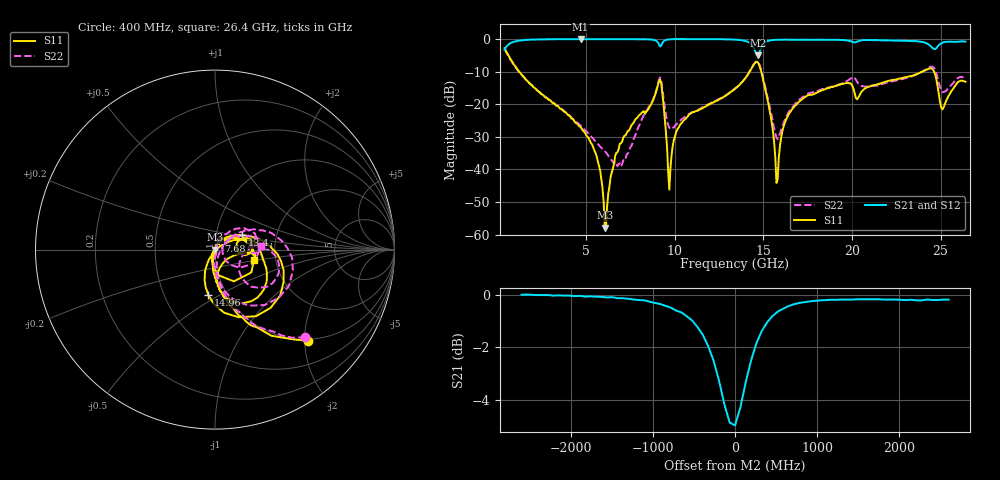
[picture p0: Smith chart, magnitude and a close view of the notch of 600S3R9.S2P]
!  American Technical Ceramics  Date:  4/26/2005
!  One Norden Lane
!  Huntington Station,  NY.  11746-2102
!  Tel:  (631) 622-4700  Fax:  (631) 622-4748
!  Part Number  600S3R9  Mounting Orientation: Horizontal
!  Description: Ultra Low ESR Microwave capacitors
!  Application: Coupling, Bypass, Tuning, DC Block
!  Filters, Matching
# GHZ S DB R 50
! Freq  |S11|  S11 Ph  |S21|  S21 Ph  |S12|  S12 Ph  |S22|  S22 Ph
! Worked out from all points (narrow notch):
!   401 points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, 400 MHz to 26.4 GHz, reference 50 ohm
!   highest |S21| = 0.00 dB at 4.69 GHz (marker M1); lowest = -5.0 dB at 14.7 GHz (marker M2)
!   notch at M2: 4.8 dB deep, 443 MHz wide at half that depth
!   lowest |S11| = -57.9 dB at 6.055 GHz (marker M3), VSWR 1.00, Z = 50 - j0.122 ohm
!   |S11| at or under -10 dB: 1.225 GHz to 14.23 GHz (13 GHz wide, 168 % of centre); 14.88 GHz to 23.98 GHz (9.095 GHz wide, 46.8 % of centre); 24.64 GHz to end of sweep
!   |S22| runs from -39.1 to -3.1 dB; largest |S21 - S12| = 0.024
!   S11 on the Smith chart (normalised r, x): 400 MHz: 0.97, -2.08; 7.68 GHz: 1.04, +0.10; 13.4 GHz: 1.34, +0.22; 14.96 GHz: 0.82, -0.45; 26.4 GHz: 1.53, -0.18
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0.4  -2.77 -44.3  -3.31 45.0  -3.53 45.5  -3.08 -44.1
1.505  -11.74 -80.4  -0.31 10.1  -0.36 11.0  -11.86 -77.8
4.69  -27.01 -102.7  0.00 -12.8  -0.01 -12.8  -26.53 -91.1
4.755  -27.51 -102.0  0.00 -13.1  -0.01 -13.1  -26.99 -90.5
5.665  -37.65 -106.5  -0.01 -17.6  -0.01 -17.7  -32.13 -73.8
6.055  -57.85 -71.7  -0.01 -19.6  -0.01 -19.6  -34.39 -59.9
6.77  -34.74 69.9  -0.01 -22.9  -0.01 -22.2  -39.07 -9.4
7.68  -25.66 65.7  -0.01 -27.4  -0.01 -27.4  -30.62 71.0
9.11  -12.91 -7.4  -1.60 -39.1  -1.56 -39.0  -12.43 22.4
9.305  -16.72 -81.0  -1.19 -25.1  -1.18 -25.6  -15.32 -36.3
9.695  -46.23 124.3  -0.09 -31.1  -0.08 -31.4  -27.22 -15.4
10.41  -25.64 59.5  -0.01 -36.5  -0.01 -36.8  -24.47 29.8
13.4  -15.27 27.5  -0.16 -53.8  -0.16 -54.0  -15.16 34.4
14.7  -7.21 -58.4  -4.97 -48.9  -4.90 -49.0  -7.04 -37.3
14.96  -11.79 -98.2  -1.85 -38.0  -1.85 -38.1  -11.34 -73.0
15.805  -43.20 4.7  -0.21 -52.3  -0.22 -52.4  -30.68 -21.7
16.325  -24.20 31.7  -0.18 -56.3  -0.19 -56.5  -23.46 32.0
17.755  -17.01 20.4  -0.22 -63.9  -0.22 -64.2  -16.33 28.6
22.11  -12.73 8.4  -0.44 -83.7  -0.44 -83.5  -13.19 5.9
24.45  -8.95 -48.5  -2.22 -100.2  -2.18 -100.0  -8.46 -19.9
25.1  -21.59 -47.1  -1.11 -88.5  -1.08 -88.5  -16.23 -27.9
26.4  -13.08 -14.6  -0.79 -102.2  -0.74 -101.9  -11.78 4.3
